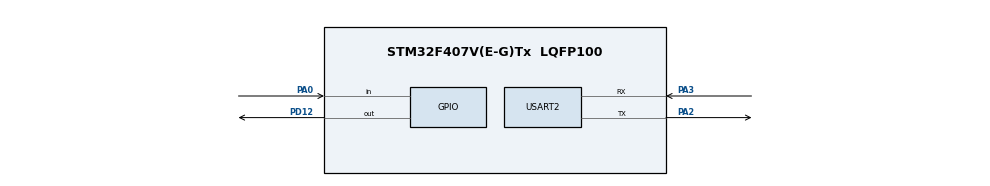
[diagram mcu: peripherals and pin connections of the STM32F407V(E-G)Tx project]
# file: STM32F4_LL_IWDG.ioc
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IWDG.Prescaler=IWDG_PRESCALER_32
IWDG.Reload=999
Mcu.Family=STM32F4
Mcu.Name=STM32F407V(E-G)Tx
Mcu.Package=LQFP100
NVIC.PriorityGroup=NVIC_PRIORITYGROUP_0
PA0-WKUP.Signal=GPIO_Input
PA13.Mode=Serial_Wire
PA13.Signal=SYS_JTMS-SWDIO
PA14.Mode=Serial_Wire
PA14.Signal=SYS_JTCK-SWCLK
PA2.Mode=Asynchronous
PA2.Signal=USART2_TX
PA3.Mode=Asynchronous
PA3.Signal=USART2_RX
PD12.Signal=GPIO_Output
PH0-OSC_IN.Mode=HSE-External-Oscillator
PH0-OSC_IN.Signal=RCC_OSC_IN
PH1-OSC_OUT.Mode=HSE-External-Oscillator
PH1-OSC_OUT.Signal=RCC_OSC_OUT
ProjectManager.HeapSize=0x200
ProjectManager.StackSize=0x400
ProjectManager.TargetToolchain=STM32CubeIDE
RCC.48MHZClocksFreq_Value=48000000
RCC.AHBFreq_Value=168000000
RCC.APB1CLKDivider=RCC_HCLK_DIV4
RCC.APB1Freq_Value=42000000
RCC.APB1TimFreq_Value=84000000
RCC.APB2CLKDivider=RCC_HCLK_DIV2
RCC.APB2Freq_Value=84000000
RCC.APB2TimFreq_Value=168000000
RCC.CortexFreq_Value=168000000
RCC.HCLKFreq_Value=168000000
RCC.HSE_VALUE=8000000
RCC.HSI_VALUE=16000000
RCC.LSE_VALUE=32768
RCC.PLLM=8
RCC.PLLN=336
RCC.PLLQ=7
RCC.PLLSourceVirtual=RCC_PLLSOURCE_HSE
RCC.SYSCLKFreq_VALUE=168000000
RCC.SYSCLKSource=RCC_SYSCLKSOURCE_PLLCLK
RCC.VCOOutputFreq_Value=336000000
USART2.VirtualMode=VM_ASYNC
VP_IWDG_VS_IWDG.Mode=IWDG_Activate
board=STM32F407G-DISC1

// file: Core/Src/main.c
/* USER CODE BEGIN Header */
/**
  ******************************************************************************
  * @file           : main.c
  * @brief          : Main program body
  ******************************************************************************
  * @attention
  *
  * Copyright (c) 2022 STMicroelectronics.
  * All rights reserved.
  *
  * This software is licensed under terms that can be found in the LICENSE file
  * in the root directory of this software component.
  * If no LICENSE file comes with this software, it is provided AS-IS.
  *
  ******************************************************************************
  */
/* USER CODE END Header */
#include "main.h"
#include "iwdg.h"
#include "usart.h"
#include "gpio.h"

/* USER CODE BEGIN Includes */
#include <stdio.h>
/* USER CODE END Includes */

void SystemClock_Config(void);

/* USER CODE BEGIN 0 */
int __io_putchar (int ch)
{
  while (!LL_USART_IsActiveFlag_TXE(USART2));
  LL_USART_TransmitData8(USART2, (char)ch);
  return ch;
}

/* USER CODE END 0 */

int main(void)
{

  /* MCU Configuration--------------------------------------------------------*/

  /* Reset of all peripherals, Initializes the Flash interface and the Systick. */
  LL_APB2_GRP1_EnableClock(LL_APB2_GRP1_PERIPH_SYSCFG);
  LL_APB1_GRP1_EnableClock(LL_APB1_GRP1_PERIPH_PWR);

  /* System interrupt init*/
  NVIC_SetPriorityGrouping(NVIC_PRIORITYGROUP_0);

  /* Configure the system clock */
  SystemClock_Config();

  /* Initialize all configured peripherals */
  MX_GPIO_Init();
  MX_IWDG_Init();
  MX_USART2_UART_Init();
  /* USER CODE BEGIN 2 */

  // check IWDG reset
  if(LL_RCC_IsActiveFlag_IWDGRST())
  {
    printf("POR with IWDG reset flag.\r\n");
    LL_RCC_ClearResetFlags();
  }
  else
  {
    printf("POR without IWDG reset flag.\r\n");
  }

  /* USER CODE END 2 */

  /* Infinite loop */
  /* USER CODE BEGIN WHILE */
  while (1)
  {
    if(LL_GPIO_IsInputPinSet(GPIOA, LL_GPIO_PIN_0))
    {
      //long delay will cause IWDG reset
      LL_mDelay(1000);
    }

    //toggle LED
    LL_GPIO_TogglePin(GPIOD, LL_GPIO_PIN_12);
    LL_mDelay(500);

    //reset counter
    LL_IWDG_ReloadCounter(IWDG);

    /* USER CODE END WHILE */

  }
}

void SystemClock_Config(void)
{
  LL_FLASH_SetLatency(LL_FLASH_LATENCY_5);
  while(LL_FLASH_GetLatency()!= LL_FLASH_LATENCY_5)
  {
  }
  LL_PWR_SetRegulVoltageScaling(LL_PWR_REGU_VOLTAGE_SCALE1);
  LL_RCC_HSE_Enable();

   /* Wait till HSE is ready */
  while(LL_RCC_HSE_IsReady() != 1)
  {

  }
  LL_RCC_LSI_Enable();

   /* Wait till LSI is ready */
  while(LL_RCC_LSI_IsReady() != 1)
  {

  }
  LL_RCC_PLL_ConfigDomain_SYS(LL_RCC_PLLSOURCE_HSE, LL_RCC_PLLM_DIV_8, 336, LL_RCC_PLLP_DIV_2);
  LL_RCC_PLL_Enable();

   /* Wait till PLL is ready */
  while(LL_RCC_PLL_IsReady() != 1)
  {

  }
  LL_RCC_SetAHBPrescaler(LL_RCC_SYSCLK_DIV_1);
  LL_RCC_SetAPB1Prescaler(LL_RCC_APB1_DIV_4);
  LL_RCC_SetAPB2Prescaler(LL_RCC_APB2_DIV_2);
  LL_RCC_SetSysClkSource(LL_RCC_SYS_CLKSOURCE_PLL);

   /* Wait till System clock is ready */
  while(LL_RCC_GetSysClkSource() != LL_RCC_SYS_CLKSOURCE_STATUS_PLL)
  {

  }
  LL_Init1msTick(168000000);
  LL_SetSystemCoreClock(168000000);
}

void Error_Handler(void)
{
  __disable_irq();
  while (1)
  {
  }
}
